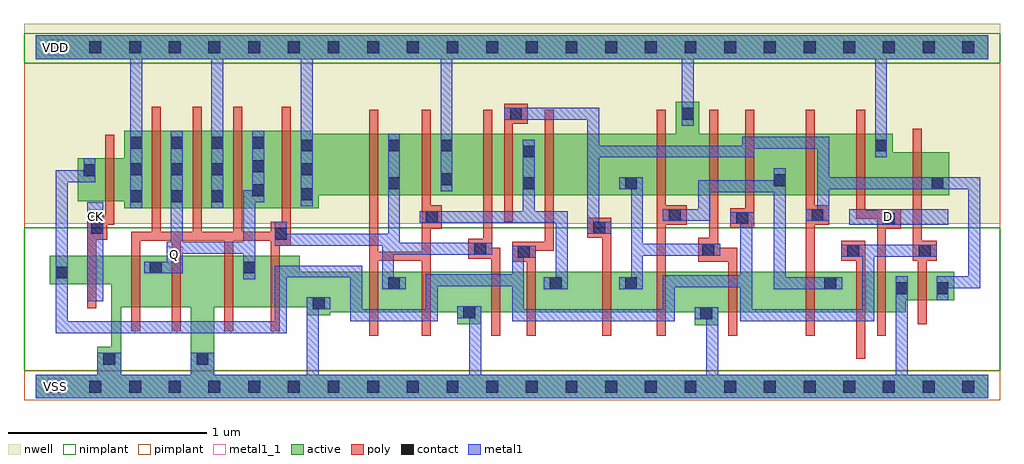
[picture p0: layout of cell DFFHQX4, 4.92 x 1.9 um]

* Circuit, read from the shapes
.subckt DFFHQX4 CK D Q VDD VSS
M1 VSS CK n1 VSS nfet w=0.145u l=0.045u
M2 Q n2 VSS VSS nfet w=0.26u l=0.045u m=4
M3 n2 n3 VSS VSS nfet w=0.205u l=0.045u m=2
M4 n4 n2 VSS VSS nfet w=0.205u l=0.045u
M5 n3 n1 n4 VSS nfet w=0.205u l=0.045u
M6 n5 n6 n3 VSS nfet w=0.205u l=0.045u
M7 VSS n7 n5 VSS nfet w=0.205u l=0.045u
M8 n8 n5 VSS VSS nfet w=0.205u l=0.045u
M9 n7 n6 n8 VSS nfet w=0.205u l=0.045u
M10 n9 n1 n7 VSS nfet w=0.205u l=0.045u
M11 VSS D n9 VSS nfet w=0.205u l=0.045u
M12 n6 n1 VSS VSS nfet w=0.145u l=0.045u
M13 VDD CK n1 VDD pfet w=0.215u l=0.045u
M14 Q n2 VDD VDD pfet w=0.39u l=0.045u m=4
M15 n2 n3 VDD VDD pfet w=0.31u l=0.045u m=2
M16 n10 n2 VDD VDD pfet w=0.31u l=0.045u
M17 n3 n6 n10 VDD pfet w=0.31u l=0.045u
M18 n5 n1 n3 VDD pfet w=0.31u l=0.045u
M19 VDD n7 n5 VDD pfet w=0.31u l=0.045u
M20 n11 n5 VDD VDD pfet w=0.31u l=0.045u
M21 n7 n1 n11 VDD pfet w=0.31u l=0.045u
M22 n12 n6 n7 VDD pfet w=0.31u l=0.045u
M23 VDD D n12 VDD pfet w=0.31u l=0.045u
M24 n6 n1 VDD VDD pfet w=0.215u l=0.045u
.ends

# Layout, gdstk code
import gdstk
lib = gdstk.Library(unit=1e-6, precision=5e-10)
def R(c, l, rs):  # rectangles x0, y0, x1, y1
    for r in rs: c.add(gdstk.rectangle(r[:2], r[2:], *l))
def A(c, l, x, y, w, h, nx, ny, dx, dy):  # array of equal rectangles
    R(c, l, [(x+i*dx, y+j*dy, x+i*dx+w, y+j*dy+h) for i in range(nx) for j in range(ny)])
def P(c, l, *ps):  # polygons
    for p in ps: c.add(gdstk.Polygon(p, *l))
active = (1, 0)
nwell = (2, 0)
poly = (3, 0)
nimplant = (4, 0)
pimplant = (5, 0)
contact = (6, 0)
metal1 = (7, 0)
metal1_1 = (7, 1)

dffhqx4 = lib.new_cell('DFFHQX4')
R(dffhqx4, active, [(0,1.65,4.8,1.77)])
P(dffhqx4, active, [(0.445,1.29),(1.385,1.29),(1.385,1.275),(3.225,1.275),(3.225,1.435),(3.345,1.435),(3.345,1.275),(4.32,1.275),(4.32,1.18),(4.605,1.18),(4.605,0.965),(1.425,0.965),(1.425,0.9),(0.445,0.9),(0.445,0.935),(0.21,0.935),(0.21,1.15),(0.445,1.15)],
  [(0.07,0.66),(1.33,0.66),(1.33,0.58),(4.63,0.58),(4.63,0.435),(4.385,0.435),(4.385,0.375),(3.44,0.375),(3.44,0.31),(3.32,0.31),(3.32,0.375),(2.245,0.375),(2.245,0.315),(2.125,0.315),(2.125,0.375),(1.485,0.375),(1.485,0.36),(1.365,0.36),(1.365,0.4),(0.9,0.4),(0.9,0.06),(4.8,0.06),(4.8,-0.06),(0,-0.06),(0,0.06),(0.31,0.06),(0.31,0.2),(0.38,0.2),(0.38,0.4),(0.43,0.4),(0.43,0.06),(0.78,0.06),(0.78,0.4),(0.38,0.4),(0.38,0.515),(0.07,0.515)])
R(dffhqx4, nwell, [(-0.06,0.82,4.86,1.83)])
P(dffhqx4, poly, [(2.36,1.425),(2.48,1.425),(2.48,1.325),(2.405,1.325),(2.405,0.83),(2.36,0.83)],
  [(0.585,1.41),(0.63,1.41),(0.63,0.78),(0.79,0.78),(0.79,1.41),(0.835,1.41),(0.835,0.78),(0.995,0.78),(0.995,1.41),(1.04,1.41),(1.04,0.78),(1.185,0.78),(1.185,0.83),(1.24,0.83),(1.24,1.41),(1.285,1.41),(1.285,0.71),(1.23,0.71),(1.23,0.28),(1.185,0.28),(1.185,0.735),(0.995,0.735),(0.995,0.28),(0.95,0.28),(0.95,0.735),(0.73,0.735),(0.73,0.28),(0.685,0.28),(0.685,0.735),(0.525,0.735),(0.525,0.28),(0.48,0.28),(0.48,0.78),(0.585,0.78)],
  [(0.35,1.27),(0.395,1.27),(0.395,0.815),(0.36,0.815),(0.36,0.74),(0.305,0.74),(0.305,0.395),(0.26,0.395),(0.26,0.86),(0.35,0.86)],
  [(1.68,1.395),(1.725,1.395),(1.725,0.68),(1.945,0.68),(1.945,1.395),(1.99,1.395),(1.99,0.915),(2.045,0.915),(2.045,0.795),(1.99,0.795),(1.99,0.255),(1.945,0.255),(1.945,0.635),(1.725,0.635),(1.725,0.255),(1.68,0.255)],
  [(2.255,1.395),(2.3,1.395),(2.3,0.7),(2.34,0.7),(2.34,0.255),(2.295,0.255),(2.295,0.645),(2.18,0.645),(2.18,0.745),(2.255,0.745)],
  [(2.565,1.395),(2.61,1.395),(2.61,0.685),(2.52,0.685),(2.52,0.255),(2.475,0.255),(2.475,0.63),(2.4,0.63),(2.4,0.73),(2.565,0.73)],
  [(3.13,1.395),(3.175,1.395),(3.175,0.915),(3.28,0.915),(3.28,0.815),(3.175,0.815),(3.175,0.255),(3.13,0.255)],
  [(3.395,1.395),(3.44,1.395),(3.44,0.7),(3.535,0.7),(3.535,0.255),(3.49,0.255),(3.49,0.63),(3.34,0.63),(3.34,0.75),(3.395,0.75)],
  [(3.575,1.395),(3.62,1.395),(3.62,0.8),(3.5,0.8),(3.5,0.9),(3.575,0.9)],
  [(3.88,1.395),(3.925,1.395),(3.925,0.915),(4,0.915),(4,0.815),(3.925,0.815),(3.925,0.255),(3.88,0.255)],
  [(4.135,1.395),(4.18,1.395),(4.18,0.89),(4.24,0.89),(4.24,0.895),(4.36,0.895),(4.36,0.795),(4.285,0.795),(4.285,0.255),(4.24,0.255),(4.24,0.845),(4.135,0.845)],
  [(4.42,1.3),(4.465,1.3),(4.465,0.735),(4.54,0.735),(4.54,0.635),(4.49,0.635),(4.49,0.315),(4.445,0.315),(4.445,0.635),(4.42,0.635)],
  [(2.78,0.85),(2.9,0.85),(2.9,0.255),(2.855,0.255),(2.855,0.75),(2.78,0.75)],
  [(4.06,0.735),(4.18,0.735),(4.18,0.14),(4.135,0.14),(4.135,0.635),(4.06,0.635)])
R(dffhqx4, nimplant, [(-0.06,0.08,4.86,0.8), (-0.06,1.63,4.86,1.78)])
R(dffhqx4, pimplant, [(-0.06,-0.07,4.86,0.08), (-0.06,0.8,4.86,1.63)])
A(dffhqx4, contact, 0.07, -0.03, 0.06, 0.06, 24, 2, 0.2, 1.71)
A(dffhqx4, contact, 0.475, 0.93, 0.06, 0.06, 3, 2, 0.205, 0.135)
A(dffhqx4, contact, 0.475, 1.2, 0.06, 0.06, 4, 1, 0.205, 0)
R(dffhqx4, contact, [(0.34,0.11,0.4,0.17), (0.81,0.11,0.87,0.17), (3.35,0.34,3.41,0.4), (2.155,0.345,2.215,0.405), (1.395,0.39,1.455,0.45), (4.335,0.465,4.395,0.525), (4.54,0.465,4.6,0.525), (1.775,0.49,1.835,0.55), (2.59,0.49,2.65,0.55), (2.97,0.49,3.03,0.55), (3.975,0.49,4.035,0.55), (0.1,0.545,0.16,0.605), (0.575,0.57,0.635,0.63), (1.045,0.57,1.105,0.63), (2.43,0.65,2.49,0.71), (4.09,0.655,4.15,0.715), (4.45,0.655,4.51,0.715), (3.36,0.66,3.42,0.72), (2.21,0.665,2.27,0.725), (1.205,0.74,1.265,0.8), (0.28,0.77,0.34,0.83), (2.81,0.77,2.87,0.83), (4.27,0.815,4.33,0.875), (3.53,0.82,3.59,0.88), (1.965,0.825,2.025,0.885), (3.19,0.835,3.25,0.895), (3.91,0.835,3.97,0.895), (1.335,0.94,1.395,1), (1.09,0.96,1.15,1.02), (1.775,0.995,1.835,1.055), (2.455,0.995,2.515,1.055), (2.97,0.995,3.03,1.055), (4.515,0.995,4.575,1.055), (3.72,1.01,3.78,1.07), (2.04,1.015,2.1,1.075), (0.24,1.06,0.3,1.12), (1.335,1.065,1.395,1.125), (1.09,1.08,1.15,1.14), (2.455,1.155,2.515,1.215), (1.335,1.185,1.395,1.245), (1.775,1.185,1.835,1.245), (2.04,1.185,2.1,1.245), (4.23,1.185,4.29,1.245), (2.39,1.345,2.45,1.405), (3.255,1.345,3.315,1.405)])
R(dffhqx4, metal1, [(0.26,0.43,0.34,0.93), (4.1,0.815,4.6,0.895)])
P(dffhqx4, metal1, [(0,1.77),(4.8,1.77),(4.8,1.65),(4.29,1.65),(4.29,1.155),(4.23,1.155),(4.23,1.65),(3.315,1.65),(3.315,1.315),(3.255,1.315),(3.255,1.65),(2.1,1.65),(2.1,0.985),(2.04,0.985),(2.04,1.65),(1.395,1.65),(1.395,0.91),(1.335,0.91),(1.335,1.65),(0.945,1.65),(0.945,0.9),(0.885,0.9),(0.885,1.65),(0.535,1.65),(0.535,0.9),(0.475,0.9),(0.475,1.65),(0,1.65)],
  [(0.24,1.15),(0.3,1.15),(0.3,1.03),(0.16,1.03),(0.16,0.33),(1.205,0.33),(1.205,0.61),(1.645,0.61),(1.645,0.39),(1.965,0.39),(1.965,0.565),(2.4,0.565),(2.4,0.71),(2.52,0.71),(2.52,0.65),(2.46,0.65),(2.46,0.39),(3.16,0.39),(3.16,0.56),(3.55,0.56),(3.55,0.82),(3.5,0.82),(3.5,0.88),(3.62,0.88),(3.62,0.82),(3.61,0.82),(3.61,0.39),(4.165,0.39),(4.165,0.655),(4.06,0.655),(4.06,0.715),(4.54,0.715),(4.54,0.655),(4.225,0.655),(4.225,0.33),(3.55,0.33),(3.55,0.5),(3.22,0.5),(3.22,0.33),(2.4,0.33),(2.4,0.505),(2.025,0.505),(2.025,0.33),(1.585,0.33),(1.585,0.55),(1.265,0.55),(1.265,0.27),(0.1,0.27),(0.1,1.09),(0.24,1.09)],
  [(0.68,1.29),(0.74,1.29),(0.74,0.73),(1.045,0.73),(1.045,0.99),(1.09,0.99),(1.09,1.29),(1.15,1.29),(1.15,0.93),(1.105,0.93),(1.105,0.54),(1.045,0.54),(1.045,0.67),(0.74,0.67),(0.74,0.57),(0.545,0.57),(0.545,0.63),(0.66,0.63),(0.66,0.73),(0.68,0.73)],
  [(1.205,0.83),(1.265,0.83),(1.265,0.77),(1.775,0.77),(1.775,1.275),(1.835,1.275),(1.835,0.725),(2.3,0.725),(2.3,0.665),(1.805,0.665),(1.805,0.55),(1.865,0.55),(1.865,0.49),(1.745,0.49),(1.745,0.71),(1.205,0.71)],
  [(2.36,1.405),(2.84,1.405),(2.84,1.215),(3.56,1.215),(3.56,1.26),(4,1.26),(4,1.055),(4.76,1.055),(4.76,0.495),(4.6,0.495),(4.6,0.435),(4.54,0.435),(4.54,0.555),(4.7,0.555),(4.7,0.995),(4,0.995),(4,0.835),(3.88,0.835),(3.88,0.895),(3.94,0.895),(3.94,1.2),(3.62,1.2),(3.62,1.155),(2.84,1.155),(2.84,0.83),(2.9,0.83),(2.9,0.77),(2.78,0.77),(2.78,1.345),(2.36,1.345)],
  [(2.455,1.245),(2.515,1.245),(2.515,0.885),(2.68,0.885),(2.68,0.49),(2.56,0.49),(2.56,0.55),(2.62,0.55),(2.62,0.825),(1.935,0.825),(1.935,0.885),(2.455,0.885)],
  [(3.72,1.1),(3.78,1.1),(3.78,0.55),(4.065,0.55),(4.065,0.49),(3.72,0.49),(3.72,0.98),(3.4,0.98),(3.4,0.835),(3.16,0.835),(3.16,0.895),(3.34,0.895),(3.34,1.04),(3.72,1.04)],
  [(1.365,0.45),(1.485,0.45),(1.485,0.39),(1.425,0.39),(1.425,0.06),(2.185,0.06),(2.185,0.345),(2.125,0.345),(2.125,0.405),(2.245,0.405),(2.245,0.06),(3.38,0.06),(3.38,0.34),(3.32,0.34),(3.32,0.4),(3.44,0.4),(3.44,0.06),(4.335,0.06),(4.335,0.555),(4.395,0.555),(4.395,0.06),(4.8,0.06),(4.8,-0.06),(0,-0.06),(0,0.06),(0.31,0.06),(0.31,0.17),(0.43,0.17),(0.43,0.06),(0.78,0.06),(0.78,0.17),(0.9,0.17),(0.9,0.06),(1.365,0.06)],
  [(2.94,1.055),(3.06,1.055),(3.06,0.72),(3.45,0.72),(3.45,0.66),(3.06,0.66),(3.06,0.49),(2.94,0.49),(2.94,0.55),(3,0.55),(3,0.995),(2.94,0.995)])
R(dffhqx4, metal1_1, [(0.06,-0.04,0.14,0.04), (0.66,0.625,0.74,0.705), (0.26,0.815,0.34,0.895), (4.26,0.815,4.34,0.895), (0.06,1.67,0.14,1.75)])
dffhqx4.add(gdstk.Label('D', (4.3,0.855), layer=7, texttype=1))
dffhqx4.add(gdstk.Label('CK', (0.3,0.855), layer=7, texttype=1))
dffhqx4.add(gdstk.Label('Q', (0.7,0.665), layer=7, texttype=1))
dffhqx4.add(gdstk.Label('VDD', (0.1,1.71), layer=7, texttype=1))
dffhqx4.add(gdstk.Label('VSS', (0.1,0), layer=7, texttype=1))
dffhqx4.add(gdstk.Label('DFFHQX4', (0,0), layer=63, texttype=0))

lib.write_gds('DFFHQX4.gds')
